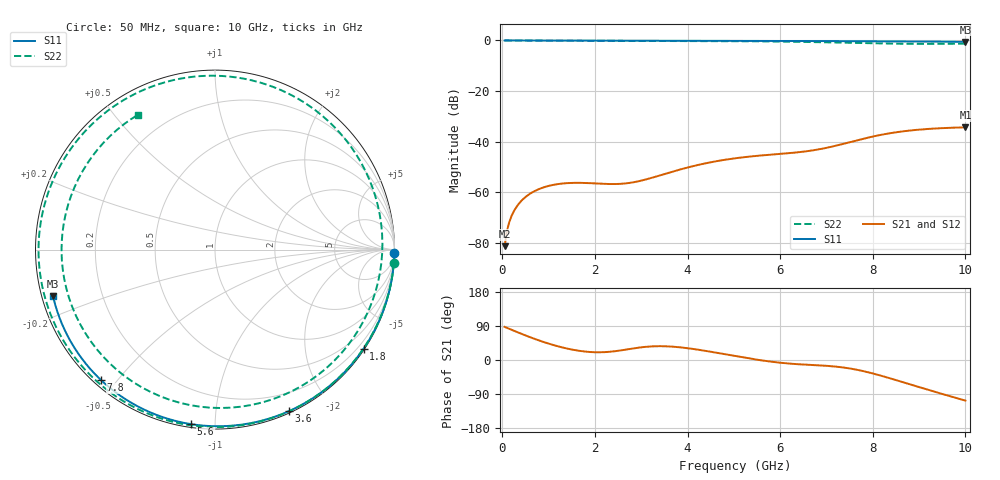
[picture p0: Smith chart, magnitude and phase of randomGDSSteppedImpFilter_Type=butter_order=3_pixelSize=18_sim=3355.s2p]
! freq	dB(S11)	phase(S11)	dB(S12)	phase(S12)
!  dB(S21)	phase(S21)	dB(S22)	phase(S22)
!S-par simulation data
#  GHz  S  DB  R 50
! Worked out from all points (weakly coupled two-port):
!   200 points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, 50 MHz to 10 GHz, reference 50 ohm
!   highest |S21| = -34.38 dB at 10 GHz (marker M1); lowest = -81.4 dB at 50 MHz (marker M2)
!   lowest |S11| = -0.5 dB at 10 GHz (marker M3), VSWR 31.81, Z = 1.6 - j7.07 ohm
!   |S11| at or under -10 dB: nowhere
!   |S22| runs from -1.4 to 0.0 dB; largest |S21 - S12| = 0
!   S11 on the Smith chart (normalised r, x): 50 MHz: open; 1.8 GHz: 0.03, -3.31; 3.6 GHz: 0.02, -1.56; 5.6 GHz: 0.02, -0.87; 7.8 GHz: 0.02, -0.45; 10 GHz: 0.03, -0.14
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0.05  -0.00 -1.0  -81.36 87.4  -81.36 87.4  -0.00 -4.3
0.15  -0.00 -2.9  -71.87 82.3  -71.87 82.3  -0.02 -12.8
0.25  -0.01 -4.8  -67.52 77.2  -67.52 77.2  -0.03 -21.1
0.55  -0.01 -10.4  -61.23 62.5  -61.23 62.5  -0.06 -45.4
1.1  -0.03 -20.7  -57.12 39.6  -57.12 39.6  -0.09 -85.5
1.75  -0.04 -32.7  -56.34 22.8  -56.34 22.8  -0.12 -124.4
1.8  -0.04 -33.6  -56.37 22.1  -56.37 22.1  -0.12 -127.0
2.55  -0.06 -47.1  -56.71 25.2  -56.71 25.2  -0.14 -163.1
3.4  -0.08 -62.0  -53.39 36.4  -53.39 36.4  -0.16 161.1
3.6  -0.09 -65.4  -52.30 35.8  -52.30 35.8  -0.17 152.9
4.4  -0.11 -78.7  -48.55 23.9  -48.55 23.9  -0.21 119.5
5.05  -0.14 -89.2  -46.55 9.9  -46.55 9.9  -0.28 90.0
5.6  -0.16 -97.9  -45.47 -1.0  -45.47 -1.0  -0.36 62.2
6.2  -0.19 -107.1  -44.56 -9.4  -44.56 -9.4  -0.48 27.7
6.7  -0.22 -114.7  -43.48 -13.2  -43.48 -13.2  -0.63 -4.6
7.2  -0.26 -122.2  -41.64 -17.4  -41.64 -17.4  -0.82 -39.8
7.8  -0.31 -131.1  -38.85 -29.5  -38.85 -29.5  -1.06 -84.3
8.35  -0.36 -139.2  -36.75 -47.5  -36.75 -47.5  -1.25 -125.5
8.75  -0.40 -145.1  -35.73 -62.2  -35.73 -62.2  -1.33 -154.7
9.15  -0.44 -151.0  -35.05 -77.0  -35.05 -77.0  -1.36 176.9
9.55  -0.49 -157.0  -34.63 -91.4  -34.63 -91.4  -1.33 149.4
10  -0.55 -163.9  -34.38 -107.2  -34.38 -107.2  -1.26 119.7
